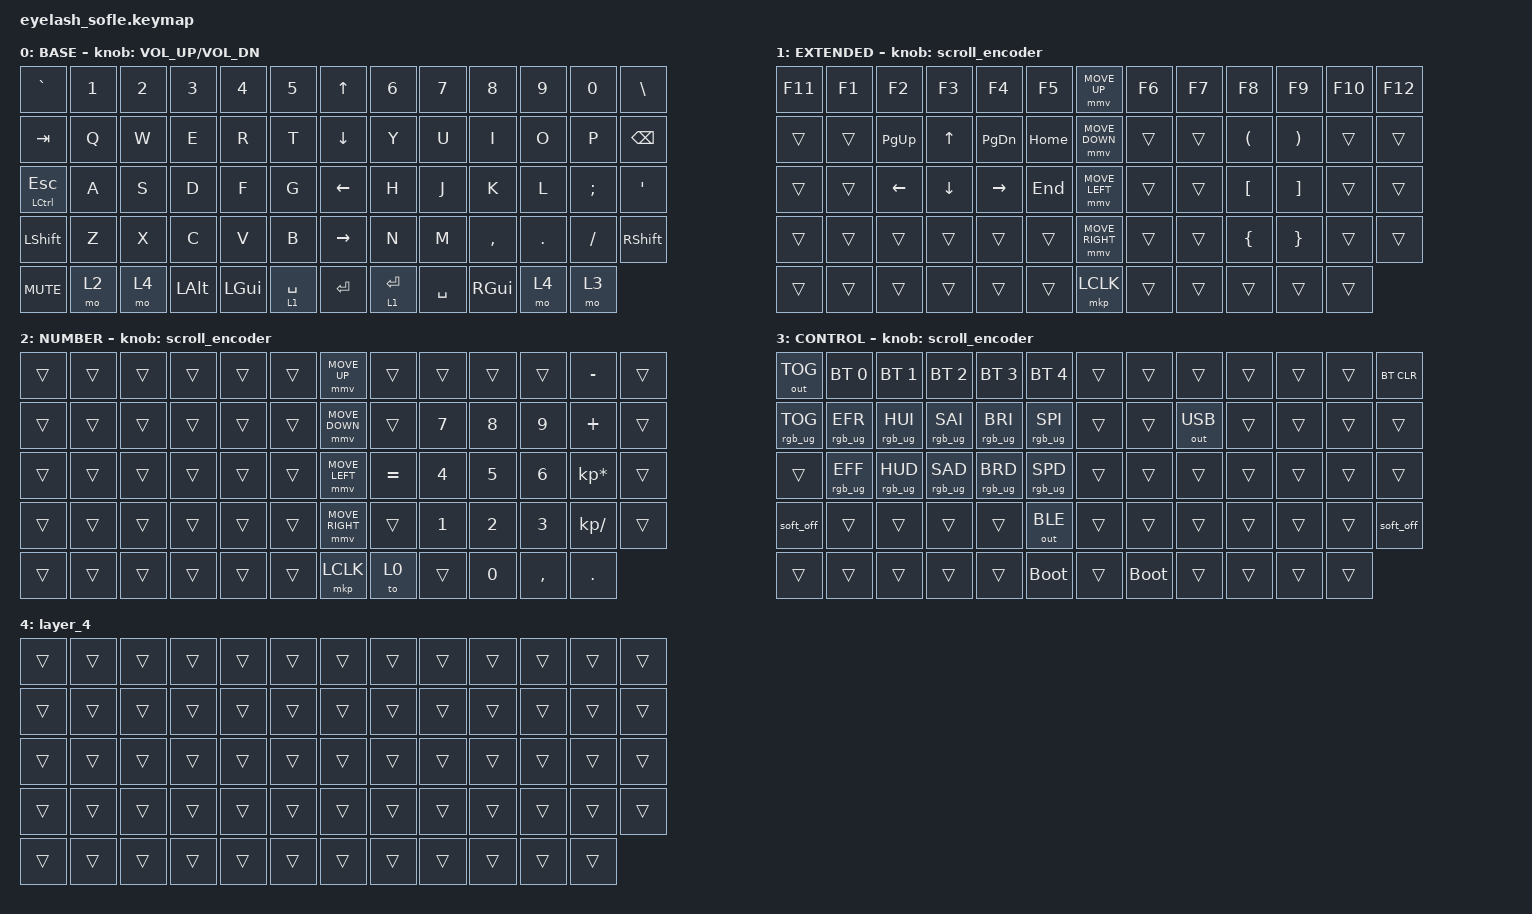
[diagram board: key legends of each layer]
#define ZMK_POINTING_DEFAULT_MOVE_VAL 1200  // 600
#define ZMK_POINTING_DEFAULT_SCRL_VAL 25   // 10

#include <input/processors.dtsi>
#include <zephyr/dt-bindings/input/input-event-codes.h>
#include <behaviors.dtsi>
#include <dt-bindings/zmk/bt.h>
#include <dt-bindings/zmk/keys.h>
#include <dt-bindings/zmk/outputs.h>
#include <dt-bindings/zmk/pointing.h>
#include <dt-bindings/zmk/rgb.h>

&mmv_input_listener { input-processors = <&zip_xy_scaler 2 1>; };

&msc_input_listener { input-processors = <&zip_scroll_scaler 2 1>; };

&msc {
    acceleration-exponent = <1>;      // 0
    time-to-max-speed-ms = <100>;       // 300
    delay-ms = <0>;                   // 0
};

&mmv {
    time-to-max-speed-ms = <500>;
    acceleration-exponent = <1>;
    trigger-period-ms = <16>;
};

&mt {
};

&lt {
    retro-tap;
    flavor = "balanced";
    tapping-term-ms = <120>;
    require-prior-idle-ms = <75>;
};

/ {
    scroll_encoder: scroll_encoder {
        compatible = "zmk,behavior-sensor-rotate";
        #sensor-binding-cells = <0>;
        bindings = <&msc SCRL_DOWN>, <&msc SCRL_UP>;

        tap-ms = <100>;
    };

    rpi: rpi {
        compatible = "zmk,behavior-hold-tap";
        label = "Require prior idle &mt";
        bindings = <&kp>, <&kp>;

        #binding-cells = <2>;
        tapping-term-ms = <200>;
        quick-tap-ms = <200>;
        require-prior-idle-ms = <125>;
        flavor = "tap-preferred";
    };

    behaviors {
    };

    combos {
        compatible = "zmk,combos";

        dash-io {
            bindings = <&kp MINUS>;
            key-positions = <22 23>;
            layers = <0>;
            require-prior-idle-ms = <125>;
        };

        equal-kl {
            bindings = <&kp EQUAL>;
            key-positions = <35 36>;
            layers = <0>;
            require-prior-idle-ms = <125>;
        };
    };

    keymap {
        compatible = "zmk,keymap";

        layer_0 {
            bindings = <
&kp GRAVE      &kp N1  &kp N2  &kp N3        &kp N4        &kp N5         &kp UP_ARROW     &kp N6       &kp N7     &kp N8     &kp N9   &kp N0    &kp BACKSLASH
&kp TAB        &kp Q   &kp W   &kp E         &kp R         &kp T          &kp DOWN_ARROW   &kp Y        &kp U      &kp I      &kp O    &kp P     &kp BACKSPACE
&mt LCTRL ESC  &kp A   &kp S   &kp D         &kp F         &kp G          &kp LEFT_ARROW   &kp H        &kp J      &kp K      &kp L    &kp SEMI  &kp APOS
&kp LSHFT      &kp Z   &kp X   &kp C         &kp V         &kp B          &kp RIGHT_ARROW  &kp N        &kp M      &kp COMMA  &kp DOT  &kp FSLH  &kp RIGHT_SHIFT
&kp C_MUTE     &mo 2   &mo 4   &kp LEFT_ALT  &kp LEFT_GUI  &lt 1 SPACE    &kp ENTER        &lt 1 ENTER  &kp SPACE  &kp RGUI   &mo 4    &mo 3
            >;

            sensor-bindings = <&inc_dec_kp C_VOLUME_UP C_VOL_DN>;
            display-name = "BASE";
        };

        layer_1 {
            bindings = <
&kp F11  &kp F1  &kp F2       &kp F3          &kp F4         &kp F5      &mmv MOVE_UP     &kp F6  &kp F7  &kp F8                &kp F9                 &kp F10  &kp F12
&trans   &trans  &kp PAGE_UP  &kp UP          &kp PAGE_DOWN  &kp HOME    &mmv MOVE_DOWN   &trans  &trans  &kp LEFT_PARENTHESIS  &kp RIGHT_PARENTHESIS  &trans   &trans
&trans   &trans  &kp LEFT     &kp DOWN_ARROW  &kp RIGHT      &kp END     &mmv MOVE_LEFT   &trans  &trans  &kp LEFT_BRACKET      &kp RIGHT_BRACKET      &trans   &trans
&trans   &trans  &trans       &trans          &trans         &trans      &mmv MOVE_RIGHT  &trans  &trans  &kp LEFT_BRACE        &kp RIGHT_BRACE        &trans   &trans
&trans   &trans  &trans       &trans          &trans         &trans      &mkp LCLK        &trans  &trans  &trans                &trans                 &trans
            >;

            display-name = "EXTENDED";
            sensor-bindings = <&scroll_encoder>;
        };

        layer_2 {
            bindings = <
&trans  &trans  &trans  &trans  &trans  &trans    &mmv MOVE_UP     &trans     &trans        &trans        &trans        &kp MINUS        &trans
&trans  &trans  &trans  &trans  &trans  &trans    &mmv MOVE_DOWN   &trans     &kp NUMBER_7  &kp NUMBER_8  &kp NUMBER_9  &kp PLUS         &trans
&trans  &trans  &trans  &trans  &trans  &trans    &mmv MOVE_LEFT   &kp EQUAL  &kp NUMBER_4  &kp NUMBER_5  &kp NUMBER_6  &kp KP_MULTIPLY  &trans
&trans  &trans  &trans  &trans  &trans  &trans    &mmv MOVE_RIGHT  &trans     &kp NUMBER_1  &kp NUMBER_2  &kp NUMBER_3  &kp KP_DIVIDE    &trans
&trans  &trans  &trans  &trans  &trans  &trans    &mkp LCLK        &to 0      &trans        &kp NUMBER_0  &kp COMMA     &kp DOT
            >;

            display-name = "NUMBER";
            sensor-bindings = <&scroll_encoder>;
        };

        layer_3 {
            bindings = <
&out OUT_TOG     &bt BT_SEL 0     &bt BT_SEL 1     &bt BT_SEL 2     &bt BT_SEL 3     &bt BT_SEL 4       &trans  &trans       &trans        &trans  &trans  &trans  &bt BT_CLR
&rgb_ug RGB_TOG  &rgb_ug RGB_EFR  &rgb_ug RGB_HUI  &rgb_ug RGB_SAI  &rgb_ug RGB_BRI  &rgb_ug RGB_SPI    &trans  &trans       &out OUT_USB  &trans  &trans  &trans  &trans
&trans           &rgb_ug RGB_EFF  &rgb_ug RGB_HUD  &rgb_ug RGB_SAD  &rgb_ug RGB_BRD  &rgb_ug RGB_SPD    &trans  &trans       &trans        &trans  &trans  &trans  &trans
&soft_off        &trans           &trans           &trans           &trans           &out OUT_BLE       &trans  &trans       &trans        &trans  &trans  &trans  &soft_off
&trans           &trans           &trans           &trans           &trans           &bootloader        &trans  &bootloader  &trans        &trans  &trans  &trans
            >;

            display-name = "CONTROL";
            sensor-bindings = <&scroll_encoder>;
        };

        layer_4 {
            bindings = <
&trans  &trans  &trans  &trans  &trans  &trans    &trans  &trans  &trans  &trans  &trans  &trans  &trans
&trans  &trans  &trans  &trans  &trans  &trans    &trans  &trans  &trans  &trans  &trans  &trans  &trans
&trans  &trans  &trans  &trans  &trans  &trans    &trans  &trans  &trans  &trans  &trans  &trans  &trans
&trans  &trans  &trans  &trans  &trans  &trans    &trans  &trans  &trans  &trans  &trans  &trans  &trans
&trans  &trans  &trans  &trans  &trans  &trans    &trans  &trans  &trans  &trans  &trans  &trans
            >;
        };
    };
};
